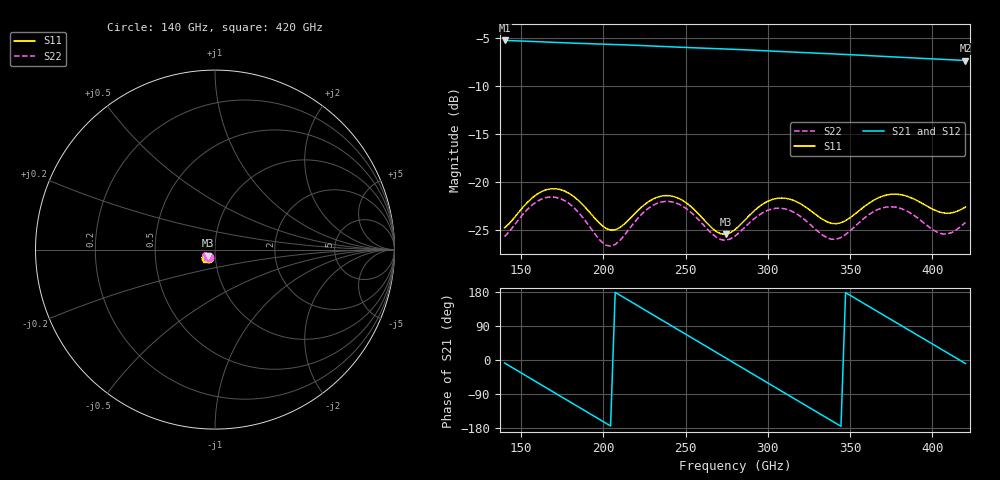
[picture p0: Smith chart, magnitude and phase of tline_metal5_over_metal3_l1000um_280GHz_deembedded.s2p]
! Created with skrf 2.0.1 (http://scikit-rf.org).
# GHz S DB R 50.0
!freq dBS11 angS11 dBS21 angS21 dBS12 angS12 dBS22 angS22
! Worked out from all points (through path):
!   101 points, 140 GHz to 420 GHz, reference 50 ohm
!   highest |S21| = -5.21 dB at 140 GHz (marker M1); lowest = -7.3 dB at 420 GHz (marker M2)
!   group delay of S21, straight-line fit = 7.16 ps
!   lowest |S11| = -25.5 dB at 274.4 GHz (marker M3), VSWR 1.11, Z = 46 - j3.16 ohm
!   |S11| at or under -10 dB: start of sweep to end of sweep
!   |S22| runs from -26.7 to -21.6 dB; largest |S21 - S12| = 8.7e-14
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140  -24.82 -124.8  -5.21 -8.0  -5.21 -8.0  -25.74 -126.6
151.2  -22.65 -118.8  -5.27 -36.9  -5.27 -36.9  -23.39 -122.0
165.2  -20.84 -130.2  -5.37 -73.1  -5.37 -73.1  -21.66 -135.4
176.4  -20.97 -142.9  -5.45 -102.0  -5.45 -102.0  -21.97 -149.2
187.6  -22.42 -151.7  -5.52 -130.8  -5.52 -130.8  -23.76 -158.5
201.6  -24.88 -145.5  -5.60 -166.9  -5.60 -166.9  -26.63 -148.7
210  -24.80 -134.0  -5.65 171.4  -5.65 171.4  -26.16 -134.4
221.2  -22.97 -128.9  -5.73 142.4  -5.73 142.4  -23.77 -130.5
235.2  -21.50 -138.2  -5.83 106.3  -5.83 106.3  -22.12 -142.5
252  -22.41 -152.6  -5.95 63.0  -5.95 63.0  -23.02 -159.0
274.4  -25.50 -139.9  -6.10 5.3  -6.10 5.3  -26.12 -149.1
280  -25.01 -132.5  -6.14 -9.2  -6.14 -9.2  -25.68 -142.5
291.2  -23.11 -128.3  -6.23 -38.1  -6.23 -38.1  -23.93 -139.5
305.2  -21.74 -136.6  -6.34 -74.2  -6.34 -74.2  -22.77 -148.9
316.4  -22.01 -144.9  -6.43 -103.0  -6.43 -103.0  -23.25 -157.9
327.6  -23.24 -148.0  -6.52 -131.8  -6.52 -131.8  -24.77 -160.7
338.8  -24.36 -141.0  -6.61 -160.6  -6.61 -160.6  -26.02 -151.6
350  -23.76 -130.7  -6.70 170.6  -6.70 170.6  -25.13 -140.3
375.2  -21.30 -136.9  -6.92 105.8  -6.92 105.8  -22.61 -150.3
394.8  -22.37 -145.2  -7.09 55.5  -7.09 55.5  -24.31 -159.2
408.8  -23.30 -138.7  -7.21 19.6  -7.21 19.6  -25.46 -148.0
420  -22.65 -131.8  -7.31 -9.2  -7.31 -9.2  -24.26 -139.0
